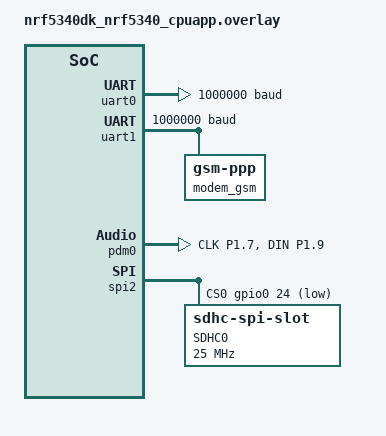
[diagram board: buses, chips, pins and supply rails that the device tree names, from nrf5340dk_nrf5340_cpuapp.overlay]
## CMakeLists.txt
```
# SPDX-License-Identifier: Apache-2.0

cmake_minimum_required(VERSION 3.20.0)
find_package(Zephyr REQUIRED HINTS $ENV{ZEPHYR_BASE})
project(fat_fs)

FILE(GLOB app_sources src/*.c)
target_sources(app PRIVATE ${app_sources})
```

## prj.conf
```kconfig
CONFIG_DISK_ACCESS=y
CONFIG_LOG=y
CONFIG_FILE_SYSTEM=y
CONFIG_FAT_FILESYSTEM_ELM=y
CONFIG_PRINTK=y
CONFIG_MAIN_STACK_SIZE=2048
CONFIG_SERIAL=y
CONFIG_DISK_DRIVER_SDMMC=y
CONFIG_SPI=y

# CONFIG_MAIN_STACK_SIZE=2048
CONFIG_SPI_NRFX_RAM_BUFFER_SIZE=512
CONFIG_STDOUT_CONSOLE=y

# DMIC AUDIO
CONFIG_AUDIO=y
CONFIG_AUDIO_DMIC=y
CONFIG_I2S=y

CONFIG_NEWLIB_LIBC=y
CONFIG_FPU=y
```

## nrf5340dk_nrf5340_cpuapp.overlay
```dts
&uart0 {
	current-speed = <1000000>;
	status = "okay";
};

&pinctrl {
	uart1_default: uart1_default {
		group1 {
			psels = <NRF_PSEL(UART_TX, 1, 10)>;
		};
		group2 {
			psels = <NRF_PSEL(UART_RX, 1, 11)>;
			bias-pull-up;
		};
	};

	uart1_sleep: uart1_sleep {
		group1 {
			psels = <NRF_PSEL(UART_TX, 1, 10)>,
					<NRF_PSEL(UART_RX,1, 11)>;
			low-power-enable;
		};
	};


};
&uart1 {
	status = "okay";
	current-speed = <1000000>;  // for US devices it should be 921600
	gsm: gsm-modem {
		status = "okay";
		compatible = "zephyr,gsm-ppp";
		label = "modem_gsm";
	};
};

&pinctrl {
	
	spi2_default_alt: spi2_default_alt {
		group1 {
			psels = <NRF_PSEL(SPIM_SCK, 0, 5)>,
				<NRF_PSEL(SPIM_MISO, 0, 27)>,
				<NRF_PSEL(SPIM_MOSI, 0, 4)>;
		};
	};

	spi2_sleep_alt: spi2_sleep_alt {
		group1 {
			psels = <NRF_PSEL(SPIM_SCK, 0, 5)>,
				<NRF_PSEL(SPIM_MISO, 0, 27)>,
				<NRF_PSEL(SPIM_MOSI, 0, 4)>;
			low-power-enable;
		};
	};
};

// Audio ---------------------
&clock {
	hfclkaudio-frequency = <12288000>;
};

&pinctrl {
	pdm0_default_alt: pdm0_default_alt {
		group1 {
			psels = <NRF_PSEL(PDM_CLK, 1, 7)>,
					<NRF_PSEL(PDM_DIN, 1, 9)>;
		};
	};
};

dmic_dev: &pdm0 {
	status = "okay";
	pinctrl-0 = <&pdm0_default_alt>;
	pinctrl-names = "default";
	clock-source = "ACLK";
	queue-size = <16>;
};


&spi2 {
	status = "okay";
	cs-gpios = <&gpio0 24 GPIO_ACTIVE_LOW>;
	sdhc0: sdhc@0 {
		compatible = "zephyr,sdhc-spi-slot";
		reg = <0>;
		status = "okay";
		mmc{
			compatible = "zephyr,sdmmc-disk";
			status = "okay";
		};
		label = "SDHC0";
		spi-max-frequency = <25000000>;
	};
};
```

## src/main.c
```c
/*
 * Copyright (c) 2024 Ridhima Verma Suman Kumar <ridhima.20eez0011@iitrpr.ac.in> <suman@iitrpr.ac.in>
 *
 * SPDX-License-Identifier: Apache-2.0
 * 
 */

/* Sample which uses the filesystem API and SDHC driver */

#include <zephyr/zephyr.h>
#include <zephyr/device.h>
#include <zephyr/storage/disk_access.h>
#include <zephyr/logging/log.h>
#include <zephyr/fs/fs.h>
#include <ff.h>

// For audio
#include <string.h>
#include <zephyr/kernel.h>
#include <zephyr/sys/printk.h>
#include <zephyr/audio/dmic.h>
#include <complex.h>

LOG_MODULE_REGISTER(main);

// #define PCM_OUTPUT_IN_ASCII		1

// Audio Fetching Variable Declaration --------------------------------------------------

#define PI 3.14159265358979323846
#define AUDIO_FREQ 8000 // for 8 kHz sampling rate
#define CHAN_SIZE 16   //  2 bytes to represent each PCM audio sample
#define PCM_BLK_SIZE_MS ((AUDIO_FREQ / 1000) * sizeof(int16_t)) // data in 1 millisecond
#define NUM_MS 6000 //audio recording duration
K_MEM_SLAB_DEFINE(rx_mem_slab, PCM_BLK_SIZE_MS, NUM_MS + 2, 1);
void *rx_block[NUM_MS]; //dynamic buffer to store the recorded PCM Samples
size_t rx_size = PCM_BLK_SIZE_MS;
int file_name = 1;
#define READ_TIMEOUT_MS 2000
#define TARGET_FREQUENCY 3000 //Target Detection Frequnecy in Hz
#define HAMMING_WINDOW_BLOCK_SIZE 128 //samples within each Hamming Block

// Goertzel Detection Algorithm Variable Declaration -------------------------------------

double magnitude = 0.0, mean = 0.0;
double threshold_mean = 35;
int counter = 0;
// magnitude: to calculate each magnitude
// mean: to calculate mean of magnitudes

// SD params ------------------------------------------------------------------------------

static int lsdir(const char *path);

static FATFS fat_fs;
/* mounting info */
static struct fs_mount_t mp = {
	.type = FS_FATFS,
	.fs_data = &fat_fs,
};

/*
 *  Note the fatfs library is able to mount only strings inside _VOLUME_STRS
 *  in ffconf.h
 */
static const char *disk_mount_pt = "/SD:";

// Hamming Window Smoothening Function ------------------------------------------------------

static float hamming_window(size_t i)
{
	const float alpha = 0.53836;
	const float beta = 1.0 - alpha;
	float h = (alpha - beta * cosf((2 * PI * i) / (HAMMING_WINDOW_BLOCK_SIZE - 1)));
	return h;
}

//Detection Algorithm Function --------------------------------------------------------------

static float goertzel(const int16_t *pcm_data[])
{
	printk("Entering goertzel function\n");
	const float sampling_rate = (float)AUDIO_FREQ;
	const float omega = (2.0 * PI * TARGET_FREQUENCY) / sampling_rate;

	// for current, previous and previous than previous value of q
	float q0 = 0.0, q1 = 0.0, q2 = 0.0;
	float cosine = cosf(omega);

	for (size_t i = 0; i < NUM_MS; i++)
	{
		float h = 0.0;
		// Goertzel
		q1 = 0.0;
		q2 = 0.0;
		int16_t data = 0;
		for (size_t j = i; j < i + HAMMING_WINDOW_BLOCK_SIZE / 8; j++)
		{
			for (size_t k = 0; k < 8; k++)
			{
				h = hamming_window((j - i) * 8 + k + 1);
				// Extracting data from audio block
				data = pcm_data[j][k];
				q0 = h * (float)data + 2.0 * cosine * q1 - q2;
				q2 = q1;
				q1 = q0;
				// printk("q0:%f, q1:%f, q2:%f, Data:%d\n", q0, q1, q2, data);
			}
		}

		// Magnitude calculation------------------------------------------------
	
		magnitude = cabsf(q1 - cexp(-I * 2 * PI * TARGET_FREQUENCY / sampling_rate) * q2);
		mean += magnitude;
		// printk("Magnittude %i is %f\n", (i / (16)), 20 * log10(magnitude));
		i += 15;
	}
	mean = 20 * log10(mean / 375);
	//printk("Mean is %f\n", mean);
	counter ++;
	//printk("Recording Number %d\n", counter);
	//k_sleep(K_MSEC(100));
	
	return mean;  // Mean Magnitude in dB----------------------------------------
}

void main(void)
{
	// Audio ------------------
	int i;
	uint32_t ms;
	int ret;

	const struct device *const mic_dev = DEVICE_DT_GET(DT_NODELABEL(dmic_dev));

    /* Verify MEMS Microphone Availability -------------------------------------------------*/

	if (!device_is_ready(mic_dev))
	{
		LOG_ERR("%s: device not ready.\n", mic_dev->name);
		return 0;
	}

	struct pcm_stream_cfg stream = {
		.pcm_width = CHAN_SIZE,
		.mem_slab = &rx_mem_slab,
	};

	struct dmic_cfg cfg = {
		.io = {
			/* These fields can be used to limit the PDM clock
			 * configurations that the driver is allowed to use
			 * to those supported by the microphone.
			 */
			//.min_pdm_clk_freq = 1000000,							//For 16kHz
			//.max_pdm_clk_freq = 3500000,							//For 16kHz
			.min_pdm_clk_freq = 512000, // For 8kHz = 64(decimation ratio)*8
			.max_pdm_clk_freq = 640000, // For 8kHz = 80(decimation ratio)*8
			.min_pdm_clk_dc = 40,
			.max_pdm_clk_dc = 60,
		},
		.streams = &stream,
		.channel = {
			.req_num_streams = 1,
		},
	};

	cfg.channel.req_num_chan = 1;
	cfg.channel.req_chan_map_lo =
		dmic_build_channel_map(0, 0, PDM_CHAN_LEFT);
	cfg.streams[0].pcm_rate = AUDIO_FREQ;
	cfg.streams[0].block_size = PCM_BLK_SIZE_MS;

	ret = dmic_configure(mic_dev, &cfg);
	if (ret < 0)
	{
		LOG_ERR("microphone configuration error\n");
		return 0;
	}
	else
	{
		LOG_INF("microphone configuration success\n");
	}
	
	/* raw disk i/o */
	do
	{
		static const char *disk_pdrv = "SD";
		uint64_t memory_size_mb;
		uint32_t block_count;
		uint32_t block_size;

		if (disk_access_init(disk_pdrv) != 0)
		{
			LOG_ERR("Storage init ERROR!");
			break;
		}

		if (disk_access_ioctl(disk_pdrv,
							  DISK_IOCTL_GET_SECTOR_COUNT, &block_count))
		{
			LOG_ERR("Unable to get sector count");
			break;
		}
		LOG_INF("Block count %u", block_count);

		if (disk_access_ioctl(disk_pdrv,
							  DISK_IOCTL_GET_SECTOR_SIZE, &block_size))
		{
			LOG_ERR("Unable to get sector size");
			break;
		}
		printk("Sector size %u\n", block_size);

		memory_size_mb = (uint64_t)block_count * block_size;
		printk("Memory Size(MB) %u\n", (uint32_t)(memory_size_mb >> 20));
	} while (0);

	mp.mnt_point = disk_mount_pt;

	int res = fs_mount(&mp);

	if (res == FR_OK)
	{
		printk("Disk mounted.\n");
		lsdir(disk_mount_pt);
	}
	else
	{ 
		printk("Error mounting disk.\n");
	}
	for (;;)
	{
		/* Audio get data ---------------------------------------------------------------*/

		ret = dmic_trigger(mic_dev, DMIC_TRIGGER_START);
		if (ret < 0)
		{
			LOG_ERR("microphone start trigger error\n");
			return 0;
		}
		else
		{
			LOG_INF("microphone start trigger success\n");
		}
		/* Acquire microphone audio */

		printf("Recording...\n");
		for (ms = 0; ms < NUM_MS; ms++)
		{
			ret = dmic_read(mic_dev, 0, &rx_block[ms], &rx_size, READ_TIMEOUT_MS);
			if (ret < 0)
			{
				LOG_ERR("%d microphone audio read error %p %u.\n", ms, rx_block[ms], rx_size);
				return 0;
			}
		
		}

		printf("\n\n");

		float mean = goertzel((const int16_t *)rx_block);

		/* Compare the Magnitude Mean from Detection Algorithm with Threshold value --------*/

		if (mean > threshold_mean)
		{
			printk("Attempting to write to file...\n");
			char filename[30];
			int write_index = 8888;

			struct fs_file_t filep;
			size_t bytes_written;

			fs_file_t_init(&filep);

			sprintf(&filename, "/SD:/%d_%d.raw", write_index, file_name);
			file_name++;
			fs_unlink(filename);

			res = fs_open(&filep, filename, FS_O_CREATE | FS_O_WRITE | FS_O_APPEND);
			if (res)
			{
				printk("Error opening file %s [%d]\n", filename, res);
				return;
			}
			else
			{
				printk("File %s opened successfully\n", filename);
			}

			for (i = 0; i < NUM_MS; i++)
			{
				uint32_t *pcm_out = rx_block[i];
				for (int j = 0; j < rx_size / 4; j++)
				{
					// printk("Writing 0x%8x, \n", pcm_out[j]);
					
            /*Write the Recorded Audio to Sd Card storage unit --------------------------------*/        
					res = fs_write(&filep, &pcm_out[j], sizeof(uint32_t));
					if (res < 0)
					{
						printk("Error writing file [%d]\n", res);
					}
					else
					{
						// printk("%d bytes written to file\n", res);
					}
				}
			}
			printk("Done Writing on flash\n");
			printk("Done recording\n");

			res = fs_close(&filep);
			if (res < 0)
			{
				printk("%d %d", res, -ENOTSUP);
				printk("Error closing file [%d]\n", res);
				lsdir(disk_mount_pt);
			}
		}
		else
		{
			printk("Done recording\n");
			printk("Mean is too less to write file in card!!!\n");
		}
		// Freeing memory slab buffer
		for (int b = 0; b < NUM_MS; b++)
			k_mem_slab_free(&rx_mem_slab, &rx_block[b]);
		// k_sleep(K_MSEC(2000));
	}

/*Display the raw PCM samples --------------------------------------------*/

#ifdef PCM_OUTPUT_IN_ASCII
	printk("-- start\n");
	int j;

	for (i = 0; i < NUM_MS; i++)
	{
		uint16_t *pcm_out = rx_block[i];

		for (j = 0; j < rx_size / 2; j++)
		{
			printk("0x%04x, \n", pcm_out[j]);
			k_sleep(K_MSEC(1));
		}
		printk("-- mid\n");
	}
	printk("-- end\n");
#endif

}

/*Display the Directory List of SD card --------------------------------------------*/

static int lsdir(const char *path)
{
	int res;
	struct fs_dir_t dirp;
	static struct fs_dirent entry;

	fs_dir_t_init(&dirp);

	/* Verify fs_opendir() */
	res = fs_opendir(&dirp, path);
	if (res)
	{
		printk("Error opening dir %s [%d]\n", path, res);
		return res;
	}

	printk("\nListing dir %s ...\n", path);
	for (;;)
	{
		/* Verify fs_readdir() */
		res = fs_readdir(&dirp, &entry);

		/* entry.name[0] == 0 means end-of-dir */
		if (res || entry.name[0] == 0)
		{
			break;
		}

		if (entry.type == FS_DIR_ENTRY_DIR)
		{
			printk("[DIR ] %s\n", entry.name);
		}
		else
		{
			printk("[FILE] %s (size = %zu)\n",
				   entry.name, entry.size);
		}
	}

	/* Verify fs_closedir() */
	fs_closedir(&dirp);

	return res;
}
```
